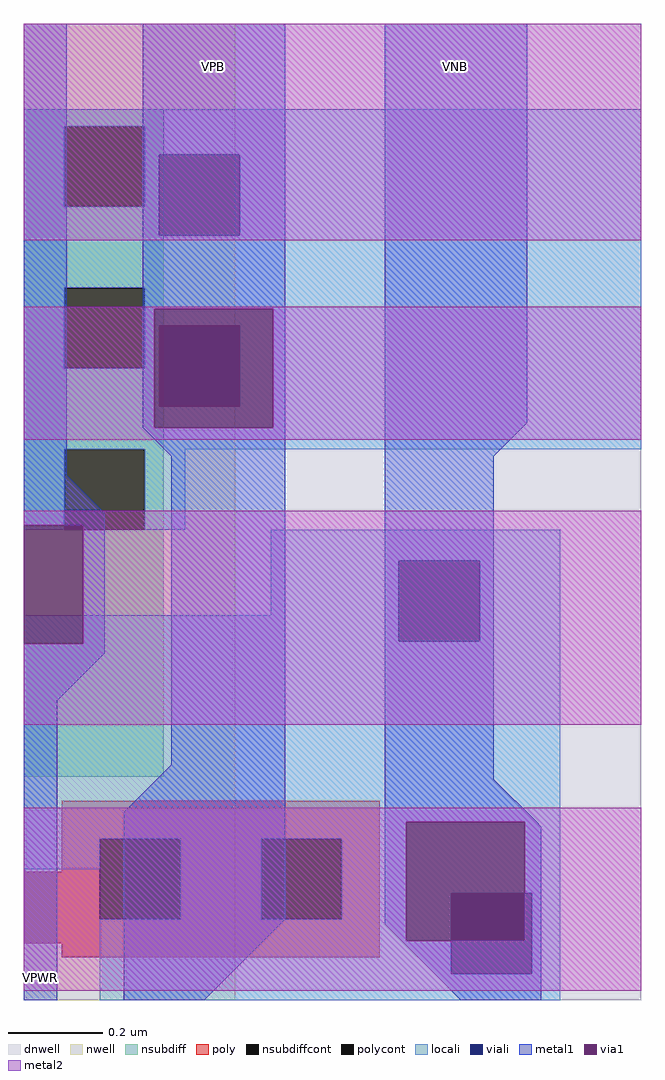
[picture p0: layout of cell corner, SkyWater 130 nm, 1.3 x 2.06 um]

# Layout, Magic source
magic
tech sky130A
magscale 1 2
<< dnwell >>
rect 0 0 260 411
<< nwell >>
rect 0 0 89 411
<< nsubdiff >>
rect 0 368 59 375
rect 0 334 17 368
rect 51 334 59 368
rect 0 300 59 334
rect 0 266 17 300
rect 51 266 59 300
rect 0 232 59 266
rect 0 198 17 232
rect 51 198 59 232
rect 0 94 59 198
<< nsubdiffcont >>
rect 17 334 51 368
rect 17 266 51 300
rect 17 198 51 232
<< poly >>
rect 16 68 150 84
rect 16 54 32 68
rect 0 34 32 54
rect 66 34 100 68
rect 134 34 150 68
rect 0 24 150 34
rect 16 18 150 24
<< polycont >>
rect 32 34 66 68
rect 100 34 134 68
<< locali >>
rect 0 368 260 375
rect 0 334 17 368
rect 51 356 260 368
rect 51 334 57 356
rect 0 322 57 334
rect 91 322 260 356
rect 0 300 260 322
rect 0 266 17 300
rect 51 284 260 300
rect 51 266 57 284
rect 0 250 57 266
rect 91 250 260 284
rect 0 232 260 250
rect 0 198 17 232
rect 51 198 68 232
rect 104 185 226 198
rect 104 162 158 185
rect 0 151 158 162
rect 192 151 226 185
rect 0 68 226 151
rect 0 55 32 68
rect 66 34 100 68
rect 134 45 226 68
rect 134 34 180 45
rect 32 11 180 34
rect 214 11 226 45
rect 32 0 226 11
<< viali >>
rect 57 322 91 356
rect 57 250 91 284
rect 158 151 192 185
rect 180 11 214 45
<< metal1 >>
rect 0 205 18 411
rect 50 356 110 411
rect 50 322 57 356
rect 91 322 110 356
rect 50 291 110 322
rect 50 241 55 291
rect 105 241 110 291
tri 50 229 62 241 ne
tri 18 205 34 221 sw
rect 0 200 34 205
rect 25 150 34 200
rect 0 146 34 150
rect 0 0 14 146
tri 14 126 34 146 nw
tri 42 79 62 99 se
rect 62 79 110 241
rect 42 34 110 79
rect 42 0 76 34
tri 76 0 110 34 nw
rect 152 243 212 411
rect 152 185 198 243
tri 198 229 212 243 nw
rect 152 151 158 185
rect 192 151 198 185
rect 152 75 198 151
tri 198 75 216 93 sw
rect 152 32 161 75
rect 211 73 216 75
tri 216 73 218 75 sw
rect 211 45 218 73
tri 152 25 159 32 ne
rect 159 25 161 32
tri 159 11 173 25 ne
rect 173 11 180 25
rect 214 11 218 45
tri 173 0 184 11 ne
rect 184 0 218 11
<< via1 >>
rect 55 284 105 291
rect 55 250 57 284
rect 57 250 91 284
rect 91 250 105 284
rect 55 241 105 250
rect 0 150 25 200
rect 161 45 211 75
rect 161 25 180 45
rect 180 25 211 45
<< metal2 >>
rect 0 320 260 411
rect 0 291 260 292
rect 0 241 55 291
rect 105 241 260 291
rect 0 236 260 241
rect 0 200 260 206
rect 25 150 260 200
rect 0 116 260 150
rect 0 75 260 81
rect 0 25 161 75
rect 211 25 260 75
rect 0 4 260 25
<< labels >>
rlabel metal1 s 0 0 14 19 4 VPWR
port 1 se
rlabel metal1 s 50 375 110 411 4 VPB
port 2 se
rlabel metal1 s 152 375 212 411 4 VNB
port 3 se
<< end >>
